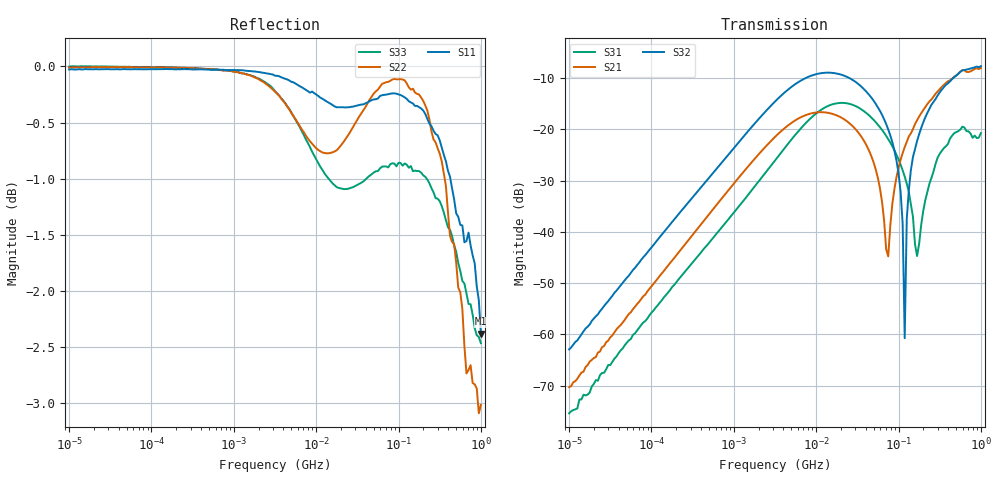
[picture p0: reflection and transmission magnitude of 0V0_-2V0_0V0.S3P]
!Keysight Technologies,E5080A,MY55100144,A.11.70.03
!Date: Monday, November 13, 2017 17:22:58
!Correction: S11(Full 3 Port(1,2,3))
!S12(Full 3 Port(1,2,3))
!S13(Full 3 Port(1,2,3))
!S21(Full 3 Port(1,2,3))
!S22(Full 3 Port(1,2,3))
!S23(Full 3 Port(1,2,3))
!S31(Full 3 Port(1,2,3))
!S32(Full 3 Port(1,2,3))
!S33(Full 3 Port(1,2,3))
!S3P File: Measurements: <S11,S12,S13>,
!<S21,S22,S23>,
!<S31,S32,S33>:Log Frequency Sweep
# Hz S  RI  R 50
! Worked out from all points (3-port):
!   201 points, 10 kHz to 1 GHz, reference 50 ohm
!   strongest paths, dB at 10 kHz, 177.8 kHz, 3.162 MHz, 56.23 MHz, 1 GHz:
!     S32: -62.9, -38.1, -14.6, -15.7, -7.7
!     S21: -70.3, -45.6, -21.5, -29.5, -8.0
!     S31: -75.4, -50.8, -26.1, -19.1, -20.7
!   lowest |S11| = -2.4 dB at 1 GHz (marker M1), VSWR 7.35, Z = 367 + j11.4 ohm
!   |S11| at or under -10 dB: nowhere
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10000  0.9968 -0.0014  1.88e-05 0.000322  -1.14e-05 0.000181
       -5.36e-06 0.000305  0.9988 -0.00367  -1.69e-05 0.00072
       3.57e-06 0.000169  -9.41e-06 0.000712  0.9997 -0.00227
3162278  0.8841 -0.4465  0.0471 0.0701  0.0115 0.0484
         0.0471 0.0701  0.6567 -0.72  0.1 0.1579
         0.0116 0.0484  0.1001 0.1579  0.9348 -0.2761
5.956621e7  -0.9326 -0.2672  0.0123 -0.0234  0.0504 -0.092
            0.0124 -0.0234  -0.9791 -0.0212  0.053 -0.1417
            0.0503 -0.092  0.0529 -0.1417  -0.69 -0.5789
7.498942e7  -0.9628 -0.1324  0.00462 0.00351  0.0249 -0.0763
            0.00459 0.00348  -0.9781 0.1092  0.0188 -0.0981
            0.0247 -0.0763  0.0188 -0.0979  -0.7947 -0.4258
1.059254e8  -0.9689 0.0641  0.0109 0.0492  0.00348 -0.0451
            0.0109 0.0493  -0.9356 0.3143  -0.00123 -0.0247
            0.00349 -0.0452  -0.00124 -0.0247  -0.8869 -0.1832
1.188502e8  -0.9596 0.1321  0.0186 0.0645  0.000776 -0.0346
            0.0185 0.0645  -0.9063 0.3877  0.000616 0.000701
            0.000751 -0.0346  0.000607 0.000686  -0.8995 -0.1021
1.258925e8  -0.9527 0.1669  0.0235 0.0721  1.64e-05 -0.0295
            0.0236 0.0721  -0.8861 0.4247  0.00342 0.0129
            -7.23e-06 -0.0295  0.00342 0.0129  -0.9022 -0.0595
1.678804e8  -0.8975 0.3416  0.0597 0.1068  0.00475 -0.00338
            0.0599 0.1069  -0.7617 0.6041  0.0344 0.0689
            0.00473 -0.00336  0.0344 0.0689  -0.8865 0.1451
5.308844e8  0.00726 0.8571  0.3255 -0.1273  0.0707 -0.0649
            0.3255 -0.1275  0.5021 0.6192  0.3336 -0.1004
            0.0707 -0.0649  0.3335 -0.1002  -0.1355 0.8063
1e9  0.7604 0.00652  -0.093 -0.3862  -0.0564 -0.0728
     -0.0936 -0.3862  0.5908 -0.3881  -0.045 -0.4113
     -0.0562 -0.0728  -0.0447 -0.4114  0.6862 0.31
